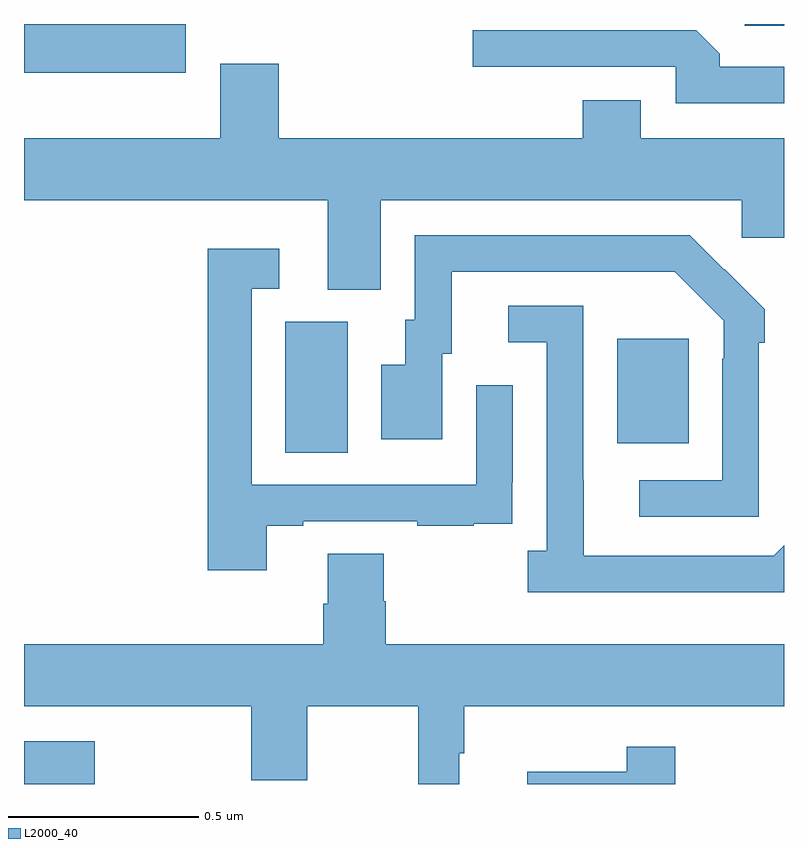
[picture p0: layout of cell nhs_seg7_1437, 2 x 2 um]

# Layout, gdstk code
import gdstk
lib = gdstk.Library(unit=1e-6, precision=1e-09)
def R(c, l, rs):  # rectangles x0, y0, x1, y1
    for r in rs: c.add(gdstk.rectangle(r[:2], r[2:], *l))
def P(c, l, *ps):  # polygons
    for p in ps: c.add(gdstk.Polygon(p, *l))
L2000_40 = (2000, 40)

nhs_seg7_1437 = lib.new_cell('nhs_seg7_1437')
R(nhs_seg7_1437, L2000_40, [(130,1079,130.186,1079.113), (130.688,1079.872,130.852,1080.216), (131.561,1079.897,131.749,1080.172), (130,1080.872,130.426,1081), (131.897,1080.995,132,1081)])
P(nhs_seg7_1437, L2000_40, [(132,1080.888),(131.831,1080.888),(131.831,1080.922),(131.769,1080.984),(131.181,1080.984),(131.181,1080.888),(131.715,1080.888),(131.715,1080.792),(132,1080.792)],
  [(130.939,1080.536),(131.889,1080.536),(131.889,1080.438),(132,1080.438),(132,1080.7),(131.623,1080.7),(131.623,1080.799),(131.471,1080.799),(131.471,1080.7),(130.67,1080.7),(130.67,1080.895),(130.517,1080.895),(130.517,1080.7),(130,1080.7),(130,1080.536),(130.799,1080.536),(130.799,1080.301),(130.939,1080.301)],
  [(131.934,1080.161),(131.949,1080.161),(131.949,1080.249),(131.844,1080.354),(131.843,1080.353),(131.752,1080.444),(131.028,1080.444),(131.028,1080.222),(131.003,1080.222),(131.003,1080.103),(130.94,1080.103),(130.94,1079.907),(131.101,1079.907),(131.101,1080.132),(131.125,1080.132),(131.125,1080.348),(131.713,1080.348),(131.841,1080.219),(131.841,1080.119),(131.838,1080.119),(131.838,1079.799),(131.619,1079.799),(131.619,1079.703),(131.934,1079.703)],
  [(130.639,1079.679),(130.735,1079.679),(130.735,1079.691),(131.035,1079.691),(131.035,1079.679),(131.183,1079.679),(131.183,1079.685),(131.285,1079.685),(131.285,1079.794),(131.286,1079.794),(131.286,1080.049),(131.19,1080.049),(131.19,1079.787),(130.599,1079.787),(130.599,1080.303),(130.672,1080.303),(130.672,1080.409),(130.483,1080.409),(130.483,1079.562),(130.639,1079.562)],
  [(132,1079.628),(131.973,1079.601),(131.473,1079.601),(131.473,1079.801),(131.472,1079.801),(131.472,1080.258),(131.274,1080.258),(131.274,1080.162),(131.376,1080.162),(131.376,1079.614),(131.325,1079.614),(131.325,1079.504),(132,1079.504)],
  [(130.952,1079.481),(130.947,1079.481),(130.947,1079.606),(130.799,1079.606),(130.799,1079.474),(130.787,1079.474),(130.787,1079.368),(130,1079.368),(130,1079.204),(130.598,1079.204),(130.598,1079.01),(130.746,1079.01),(130.746,1079.204),(131.037,1079.204),(131.037,1079),(131.146,1079),(131.146,1079.081),(131.158,1079.081),(131.158,1079.204),(132,1079.204),(132,1079.368),(130.952,1079.368)],
  [(131.714,1079.098),(131.586,1079.098),(131.586,1079.032),(131.324,1079.032),(131.324,1079),(131.714,1079)])

lib.write_gds('nhs_seg7_1437.gds')
